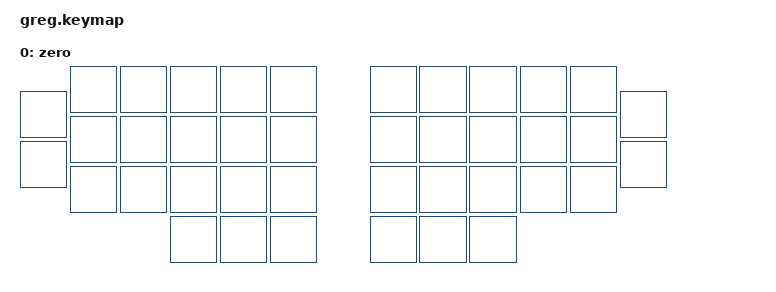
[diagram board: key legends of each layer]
#include <behaviors.dtsi>
#include <dt-bindings/zmk/keys.h>
#include <dt-bindings/zmk/bt.h>

/ {
    keymap {
        compatible = "zmk,keymap";

        zero { 
            bindings = <
                &none      &none      &none      &none      &none      &none        &none      &none      &none      &none      &none      &none
                &none      &none      &none      &none      &none      &none        &none      &none      &none      &none      &none      &none
                           &none      &none      &none      &none      &none        &none      &none      &none      &none      &none
                                                 &none      &none      &none        &none      &none      &none
            >;
        };
    };
};
